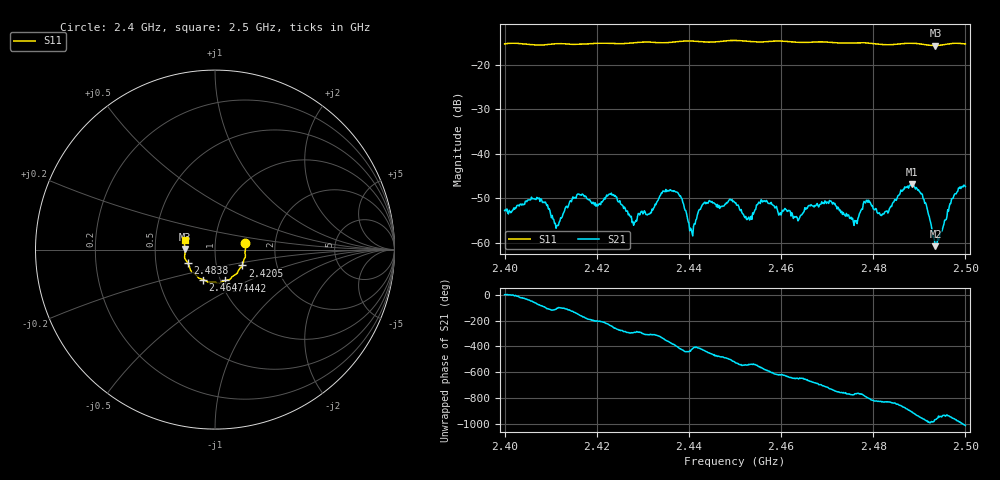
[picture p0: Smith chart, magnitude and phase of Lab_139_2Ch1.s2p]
# Hz S RI R 50
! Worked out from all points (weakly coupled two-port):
!   601 points, 2.4 GHz to 2.5 GHz, reference 50 ohm
!   highest |S21| = -46.86 dB at 2.4883 GHz (marker M1); lowest = -60.8 dB at 2.4935 GHz (marker M2)
!   lowest |S11| = -15.6 dB at 2.4935 GHz (marker M3), VSWR 1.40, Z = 35.8 + j0.123 ohm
!   |S11| at or under -10 dB: start of sweep to end of sweep
!   S12 and S22 are empty: the file has one direction only
!   S11 on the Smith chart (normalised r, x): 2.4 GHz: 1.40, +0.11; 2.4205 GHz: 1.33, -0.24; 2.4442 GHz: 1.05, -0.37; 2.4647 GHz: 0.83, -0.29; 2.4838 GHz: 0.73, -0.11; 2.5 GHz: 0.71, +0.08
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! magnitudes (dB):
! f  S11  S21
! 2.4 GHz  -15.2  -52.8
! 2.4075 GHz  -15.5  -49.9
! 2.4113 GHz  -15.2  -56.2
! 2.4167 GHz  -15.3  -49.3
! 2.4205 GHz  -15.1  -51.3
! 2.4237 GHz  -15.2  -49.2
! 2.4282 GHz  -15.0  -55.5
! 2.4333 GHz  -15.0  -50.4
! 2.4377 GHz  -14.7  -48.9
! 2.4405 GHz  -14.6  -57.0
! 2.4442 GHz  -14.8  -51.1
! 2.45 GHz  -14.5  -51.1
! 2.4527 GHz  -14.6  -54.8
! 2.4562 GHz  -14.8  -50.7
! 2.4647 GHz  -14.9  -53.5
! 2.4667 GHz  -14.9  -51.7
! 2.4833 GHz  -15.5  -53.1
! 2.4838 GHz  -15.4  -51.8
! 2.4883 GHz  -15.1  -46.9
! 2.491 GHz  -15.4  -50.3
! 2.4935 GHz  -15.6  -60.8
! 2.5 GHz  -15.3  -47.4
